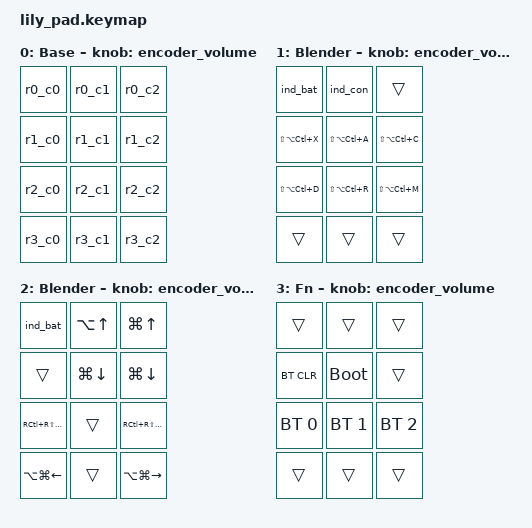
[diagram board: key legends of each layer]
#include <behaviors.dtsi>
#include <dt-bindings/zmk/keys.h>
#include <dt-bindings/zmk/bt.h>
#include <behaviors/rgbled_widget.dtsi>

/*
 * Combo key-positions (3x4):1117333
 * +----+----+----+
 * |  0 |  1 |  2 |
 * +----+----+----+
 * |  3 |  4 |  5 |
 * +----+----+----+
 * |  6 |  7 |  8 |
 * +----+----+----+
 * |  9 | 10 | 11 |
 * +----+----+----+
 */

/ {

    behaviors {
        // Encoder volume up and down
        encoder_volume: encoder_volume {
            compatible = "zmk,behavior-sensor-rotate";
            #sensor-binding-cells = <0>;
            bindings = <&kp C_VOL_DN>, <&kp C_VOL_UP>;
        };
        
        // Set window to specific size (1400 x 1080) and move to center
        // Mac Shortcuts app is used to resize and move windows
        // Alfred is used to fire the Shortcuts
        windowsize: windowsize {
            compatible = "zmk,behavior-macro";
            #binding-cells = <0>;
            wait-ms = <150>; 
            bindings
                = <&macro_press &kp LS(LA(LC(U)))>
                , <&macro_release &kp LS(LA(LC(U)))>
                ,<&macro_press &kp LS(LA(LC(Y)))>
                , <&macro_release &kp LS(LA(LC(Y)))>
                ,<&macro_press &kp LS(LA(LC(I)))>
                , <&macro_release &kp LS(LA(LC(I)))>
                ;
        };

        // Switch to layer 0 before using Alfred app
        alfred: alfred {
            compatible = "zmk,behavior-macro";
            #binding-cells = <0>;
            wait-ms = <300>;
            bindings
                = <&macro_press &to 0>
                , <&macro_release &to 0>
                ,<&macro_press &kp LA(SPACE)>
                , <&macro_release &kp LA(SPACE)>
                ;
        };

        // Open browser with Alfred, wait for focus, then switch to tab

        // Open browser at tab 1
        browser_tab_1: browser_tab_1 {
            compatible = "zmk,behavior-macro";
            #binding-cells = <0>;
            wait-ms = <300>;
            bindings
                = <&macro_press &kp LS(LA(LC(B)))>
                , <&macro_release &kp LS(LA(LC(B)))>
                , <&macro_tap &kp LG(N1)>
                ;
        };

        // Open browser at tab 2
        browser_tab_2: browser_tab_2 {
            compatible = "zmk,behavior-macro";
            #binding-cells = <0>;
            wait-ms = <300>;
            bindings
                = <&macro_press &kp LS(LA(LC(B)))>
                , <&macro_release &kp LS(LA(LC(B)))>
                , <&macro_tap &kp LG(N2)>
                ;
        };

        // Open browser at tab 3
        browser_tab_3: browser_tab_3 {
            compatible = "zmk,behavior-macro";
            #binding-cells = <0>;
            wait-ms = <300>;
            bindings
                = <&macro_press &kp LS(LA(LC(B)))>
                , <&macro_release &kp LS(LA(LC(B)))>
                , <&macro_tap &kp LG(N3)>
                ;
        };

        // Open browser at tab 9 (Last tab hopefully)
        browser_tab_9: browser_tab_9 {
            compatible = "zmk,behavior-macro";
            #binding-cells = <0>;
            wait-ms = <300>;
            bindings
                = <&macro_press &kp LS(LA(LC(B)))>
                , <&macro_release &kp LS(LA(LC(B)))>
                , <&macro_tap &kp LG(N9)>
                ;
        };

        // NOT USED
        // Go to top of page/window
        // then return to layer 0
        page_top_layer0: page_top_layer0 {
            compatible = "zmk,behavior-macro";
            #binding-cells = <0>;
            bindings
            = <&macro_press &kp LG(UP)>
            , <&macro_release &kp LG(UP)>
                , <&macro_press &to 0>
                , <&macro_release &to 0>
                ;
        };

        // NOT USED
        // Go to bottom of page/window
        // then return to layer 0
        page_bottom_layer0: page_bottom_layer0 {
            compatible = "zmk,behavior-macro";
            #binding-cells = <0>;
            bindings
            = <&macro_press &kp LG(DOWN)>
            , <&macro_release &kp LG(DOWN)>
                , <&macro_press &to 0>
                , <&macro_release &to 0>
                ;
        };

        // Play/Pause - Go to top of page/window
        r0_c0: tap_dance_r0c0 {
            compatible = "zmk,behavior-tap-dance";
            #binding-cells = <0>;
            tapping-term-ms = <300>;
            bindings = <&kp C_PP>, <&kp LG(UP)>;
        };

        // Next track - Previous track - Finder go to top
        r0_c1: tap_dance_r0c1 {
            compatible = "zmk,behavior-tap-dance";
            #binding-cells = <0>;
            tapping-term-ms = <300>;
            bindings = <&kp C_NEXT>, <&kp C_PREV>, <&kp LA(UP)>;
        };

        // Mute - Alfred - Go to top of page/window
        r0_c2: tap_dance_r0c2 {
            compatible = "zmk,behavior-tap-dance";
            #binding-cells = <0>;
            tapping-term-ms = <300>;
            bindings = <&kp K_MUTE>, <&alfred>, <&kp LG(UP)>;
        };
        
        // Dynamic slot 1, slot 2, slot 3
        r1_c0: tap_dance_r1c0 {
            compatible = "zmk,behavior-tap-dance";
            #binding-cells = <0>;
            tapping-term-ms = <300>;
            bindings =  <&kp LS(LA(LC(N4)))>,<&kp LS(LA(LC(N5)))>,<&kp LS(LA(LC(N6)))>;
        };

        // Dynamic slot 4, slot 5, slot 6
        r1_c1: tap_dance_r1c1 {
            compatible = "zmk,behavior-tap-dance";
            #binding-cells = <0>;
            tapping-term-ms = <300>;
            bindings =  <&kp LS(LA(LC(N7)))>,<&kp LS(LA(LC(N8)))>,<&kp LS(LA(LC(N9)))>;
        };

        // Cycle windows, Focus front window
        r1_c2: tap_dance_r1c2 {
            compatible = "zmk,behavior-tap-dance";
            #binding-cells = <0>;
            tapping-term-ms = <300>;
            bindings = <&kp LG(GRAVE)>, <&kp LS(LA(LC(G)))>;
        };

        // VS Code - Move window to left
        r2_c0: tap_dance_r2c0 {
            compatible = "zmk,behavior-tap-dance";
            #binding-cells = <0>;
            tapping-term-ms = <300>;
            bindings = <&kp LS(LA(LC(N1)))>, <&kp LS(LA(LC(LG(LEFT))))>;
        };

        // Sublime Text - Window Full - Window resize
        r2_c1: tap_dance_rdc1 {
            compatible = "zmk,behavior-tap-dance";
            #binding-cells = <0>;
            tapping-term-ms = <300>;
            bindings = <&kp LS(LA(LC(N2)))>, <&kp LS(LA(LC(LG(F))))>, <&windowsize>;
        };

        // Terminal - Move window to right
        r2_c2: tap_dance_r2c2 {
            compatible = "zmk,behavior-tap-dance";
            #binding-cells = <0>;
            tapping-term-ms = <300>;
            bindings = <&kp LS(LA(LC(T)))>, <&kp LS(LA(LC(LG(RIGHT))))>;
        };

        // Layer 1 on hold - open Browser - Open Browser at tab 1, Open Browser at tab 9
        r3_c0: tap_dance_r3c0 {
            compatible = "zmk,behavior-tap-dance";
            #binding-cells = <0>;
            tapping-term-ms = <300>;
            bindings = <&lt 1 LS(LA(LC(B)))>, <&browser_tab_1>,<&browser_tab_2>,<&browser_tab_3>,<&browser_tab_9>;
        };

        // Finder: Downloads - Finder: Desktop - Finder go to bottom
        r3_c1: tap_dance_r3c1 {
            compatible = "zmk,behavior-tap-dance";
            #binding-cells = <0>;
            tapping-term-ms = <300>;
            bindings = <&lt 2 LS(LA(LC(K)))>,<&kp LS(LA(LC(J)))>,<&kp LS(LA(LC(H)))>;
        };

        // Finder: folders - Finder: Documents
        r3_c2: tap_dance_r3c2 {
            compatible = "zmk,behavior-tap-dance";
            #binding-cells = <0>;
            tapping-term-ms = <300>;
            bindings = <&lt 3 LS(LA(LC(SEMI)))>,<&kp LS(LA(LC(L)))>,<&kp LG(DOWN)>;
        };
    };

    keymap {
        compatible = "zmk,keymap";

        // TD = tap dance. https://zmk.dev/docs/keymaps/behaviors/tap-dance
        // LT = Layer tap . https://zmk.dev/docs/keymaps/behaviors/hold-tap#layer-tap
        // L1 = layer 1,  L2 = layer 2, etc...

        // ╭──────────────────────────────────────────────────────────────────────────────────────────────────────────────────────────────────────────────────────────────────────────────────────────────────────────────────────────────────────╮
        // │ TD 1: play/pause - TD 2: scroll to top                                │ TD 1: next track - TD 2: previous track - TD 3: Finder go to top              │ TD 1: mute - TD 2: Afred app - TD 3: Go to top                             │
        // │ TD 1: Dynamic Alfred slot 1                                           │ TD 1: Dynamic Alfred slot 2                                                   │ TD 1: cycle through app windows - TD 2: focus frontmost app window         │
        // │ TD 1: open VS Code - TD 2: move window left                           │ TD 1: open Sublime Text - TD 2: window fill screen - 3: window size           │ TD 1: open Terminal - TD 2: move window right                              │
        // │ LT: L1 - TD 1 to 4: open Browser - open tab 1 - tab 2 - tab 3 - tab 9 │ TD 1: Finder dir Downloads - TD 2: Finder Desktop - TD 3: Finder go to bottom │ LT: L2 - TD 1: Finder folders - TD2: finder Documents - TD 3: Go to bottom │
        // ╰──────────────────────────────────────────────────────────────────────────────────────────────────────────────────────────────────────────────────────────────────────────────────────────────────────────────────────────────────────╯

        default_layer {
            display-name = "Base";
            bindings = <
                &r0_c0  &r0_c1  &r0_c2
                &r1_c0  &r1_c1  &r1_c2
                &r2_c0  &r2_c1  &r2_c2
                &r3_c0  &r3_c1  &r3_c2
            >;
            sensor-bindings = <&encoder_volume>;
        };

        // TD = tap dance.
        // ╭─────────────────────────────────────────────────────────────╮
        // │ battery indicator  │ bluetooth connectivity │ mute          │
        // │ open Blender       │ open Signal            │ open Calendar │
        // │ open Swinsian      │ open Vienna            │ open Mail     │
        // │                    │                        │               │
        // ╰─────────────────────────────────────────────────────────────╯

        layer_1 {
            display-name = "Blender";
            bindings = <
                &ind_bat           &ind_con          &trans
                &kp LS(LA(LC(X)))  &kp LS(LA(LC(A))) &kp LS(LA(LC(C)))
                &kp LS(LA(LC(D)))  &kp LS(LA(LC(R))) &kp LS(LA(LC(M)))
                &trans             &trans            &trans
            >;
            sensor-bindings = <&encoder_volume>;
        };

        // TD = tap dance.
        // ╭──────────────────────────────────────────────────────╮
        // │                  │ Finder top    │ top               │
        // │                  │ Finder bottom │ bottom            │
        // │ Move tab to left │               │ Move tab to right │
        // │ Go to tab left   │               │ Go to tab right   │
        // ╰──────────────────────────────────────────────────────╯

        layer_2 {
            display-name = "Blender";
            bindings = <
                &ind_bat           &kp LA(UP)   &kp LG(UP)
                &trans             &kp LG(DOWN) &kp LG(DOWN)
                &kp RC(RS(PG_UP))  &trans       &kp RC(RS(PG_DN))
                &kp LA(LG(LEFT))   &trans       &kp LA(LG(RIGHT))
            >;
            sensor-bindings = <&encoder_volume>;
        };

        // TD = tap dance.
        // ╭────────────────────────────────────────────────────────────────────────╮
        // │ battery indicator       │ bluetooth connectivity │ mute                │
        // │ clear bluetooth profile │ enter bootloader mode  │                     │
        // │ bluetooth profile 1     │ bluetooth profile 2    │ bluetooth profile 3 │
        // │                         │                        │                     │
        // ╰────────────────────────────────────────────────────────────────────────╯

        hardware_layer {
            display-name = "Fn";
            bindings = <
                &trans        &trans         &trans
                &bt BT_CLR    &bootloader    &trans
                &bt BT_SEL 0  &bt BT_SEL 1   &bt BT_SEL 2
                &trans        &trans         &trans
            >;
            sensor-bindings = <&encoder_volume>;
        };

        // TD = tap dance.
        // ╭────────────────────╮
        // │      │      │      │
        // │      │      │      │
        // │      │      │      │
        // │      │      │      │
        // ╰────────────────────╯
    };
};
